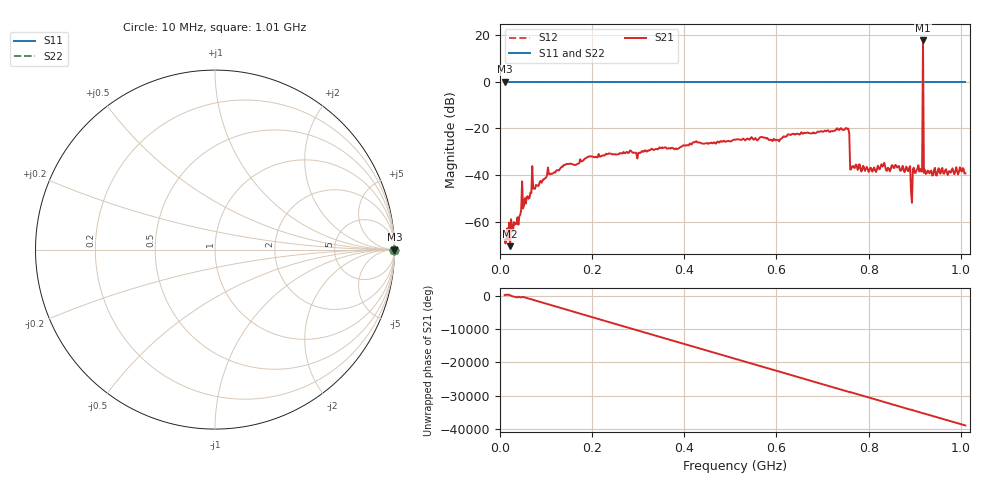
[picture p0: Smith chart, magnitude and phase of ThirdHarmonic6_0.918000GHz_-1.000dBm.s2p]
! 8/16/2025 6:00:34 AM
! C:\ANRITSUVNA\TEMP\TEMP.S2P
! CHANNEL.1
! TR.MEASUREMENT
! RAW.DATA
! RF.CORRECTION.OFF
! AVERAGING.OFF
! IF.BANDWIDTH: 5KHZ
! SWEEPTYPE:  FREQ.SWEEP(Linear)
! Reference Plane Port Info
! PORT:  PORT1  PORT2
! DISTANCE:  0  m  0  m
! TIME:  0  s  0  s
! PHASE.OFFSET:  0  deg.  0  deg.
! LOSS:  0  dB  0  dB
! REF.LOSS:  0  dB  0  dB
! REF.FREQ:  0  Hz  0  Hz
! Power Info
! POWER:  -20  dBm  -20  dBm
! EFF.POWER:  -20  dBm  -20  dBm
! SOURCE.ATTEN:  0  dB  0  dB
! TEST.ATTEN:  0  dB  0  dB
# GHZ S RI R 50.0
! FREQ.GHZ  S11RE  S11IM  S21RE  S21IM  S12RE  S12IM  S22RE  S22IM
!; PortSelection: Port_12
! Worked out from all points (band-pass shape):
!   501 points, 10 MHz to 1.01 GHz, reference 50 ohm
!   highest |S21| = 17.57 dB at 918 MHz (marker M1); lowest = -70.2 dB at 22 MHz (marker M2)
!   |S21| within 3 dB of the highest: 917.8927 MHz to 918.1062 MHz (213.5 kHz wide, 0.0233 % of centre)
!   lowest |S11| = 0.0 dB at 10 MHz (marker M3)
!   |S11| at or under -10 dB: nowhere
!   |S22| runs from 0.0 to 0.0 dB; largest |S21 - S12| = 6.7
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0.01  1 0  -0.000382 0.000177  1 0  1 0
0.022  1 0  9.29e-05 0.000293  1 0  1 0
0.05  1 0  0.00186 -0.000657  1 0  1 0
0.074  1 0  0.00103 0.00516  1 0  1 0
0.178  1 0  -0.0195 -0.00448  1 0  1 0
0.344  1 0  0.036 -0.00887  1 0  1 0
0.51  1 0  -0.0487 0.031  1 0  1 0
0.678  1 0  -0.0548 -0.0569  1 0  1 0
0.752  1 0  -0.0467 0.0906  1 0  1 0
0.754  1 0  0.0774 0.0581  1 0  1 0
0.764  1 0  0.00512 0.0145  1 0  1 0
0.844  1 0  0.000545 0.0139  1 0  1 0
0.886  1 0  -0.011 -0.00553  1 0  1 0
0.89  1 0  0.0129 0.00913  1 0  1 0
0.896  1 0  -0.0133 0.00177  1 0  1 0
0.9  1 0  0.0113 -0.000661  1 0  1 0
0.912  1 0  -0.00628 -0.0122  1 0  1 0
0.914  1 0  -0.0111 0.00471  1 0  1 0
0.918  1 0  6.669 -3.556  1 0  1 0
0.922  1 0  -0.013 -0.00234  1 0  1 0
0.924  1 0  -0.00469 0.00961  1 0  1 0
1.01  1 0  0.00376 -0.0103  1 0  1 0
